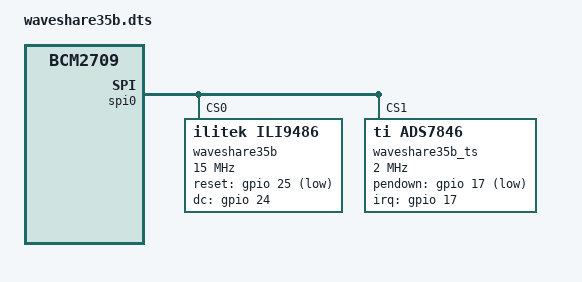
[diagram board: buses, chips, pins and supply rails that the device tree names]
/*
 * Device Tree overlay for waveshare 3.5inch IPS LCD
 *
 */

/dts-v1/;
/plugin/;

/ {
	compatible = "brcm,bcm2835", "brcm,bcm2708", "brcm,bcm2709";

	fragment@0 {
		target = <&spi0>;
		__overlay__ {
			status = "okay";

			spidev@0 {
				status = "disabled";
			};

			spidev@1 {
				status = "disabled";
			};
		};
	};

	fragment@1 {
		target = <&gpio>;
		__overlay__ {
			waveshare35b_pins: waveshare35b_pins {
				brcm,pins = <17 25 24>;
				brcm,function = <0 0 0>; /* in in in */
			};
		};
	};

	fragment@2 {
		target = <&spi0>;
		__overlay__ {
			/* needed to avoid dtc warning */
			#address-cells = <1>;
			#size-cells = <0>;

			waveshare35b: waveshare35b@0 {
				compatible = "ilitek,ili9486";
				reg = <0>;
				pinctrl-names = "default";
				pinctrl-0 = <&waveshare35b_pins>;

				spi-max-frequency = <15000000>;
				txbuflen = <32768>;
				rotate = <90>;
				bgr = <0>;
				fps = <30>;
				buswidth = <8>;
				regwidth = <16>;
				reset-gpios = <&gpio 25 1>;
				dc-gpios = <&gpio 24 0>;
				debug = <0>;

				init = <0x10000b0 0x0
				        0x1000011
				        0x20000ff
				        0x100003a 0x55
				        0x1000036 0x28
				        0x1000021
				        0x10000c0 0x9 0x9
				        0x10000c1 0x41 0x0
				        0x10000c5 0x0 0x36
				        0x10000e0 0x0 0x2c 0x2c 0xb 0xc 0x4 0x4c 0x64 0x36 0x3 0xe 0x1 0x10 0x1 0x0
				        0x10000e1 0xf 0x37 0x37 0xc 0xf 0x5 0x50 0x32 0x36 0x4 0xb 0x0 0x19 0x14 0xf
				        0x1000011
				        0x20000ff
				        0x1000029>;
			};

			waveshare35b_ts: waveshare35b-ts@1 {
				compatible = "ti,ads7846";
				reg = <1>;

				spi-max-frequency = <2000000>;
				interrupts = <17 2>; /* high-to-low edge triggered */
				interrupt-parent = <&gpio>;
				pendown-gpio = <&gpio 17 1>;
				ti,x-plate-ohms = /bits/ 16 <60>;
				ti,pressure-max = /bits/ 16 <255>;
			};
		};
	};
	__overrides__ {
		speed =		<&waveshare35b>,"spi-max-frequency:0";
		txbuflen =	<&waveshare35b>,"txbuflen:0";
		rotate =	<&waveshare35b>,"rotate:0";
		fps =		<&waveshare35b>,"fps:0";
		bgr =		<&waveshare35b>,"bgr:0";
		debug =		<&waveshare35b>,"debug:0";
		swapxy =	<&waveshare35b_ts>,"ti,swap-xy?";
	};
};
